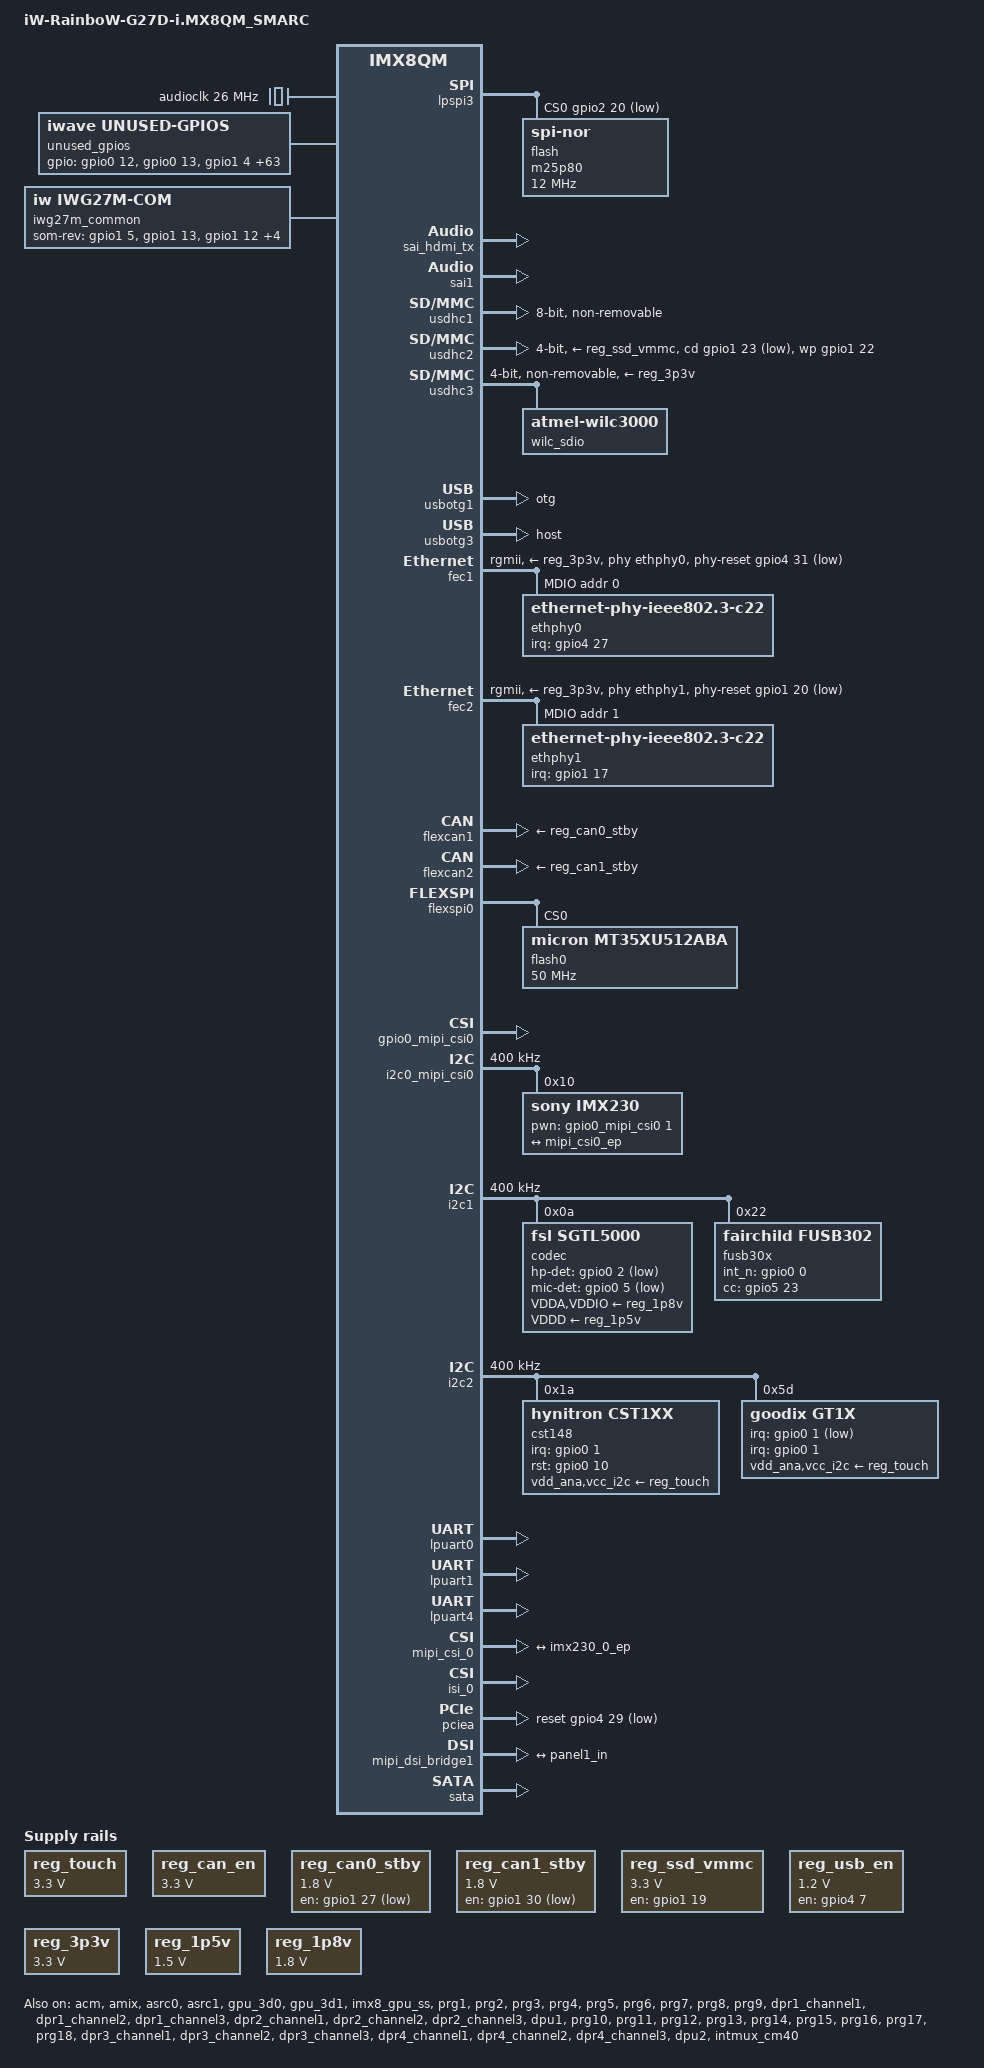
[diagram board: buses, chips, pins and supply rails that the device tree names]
/*
 * Copyright (c) 2018 iWave Systems Technologies Pvt. Ltd.
 *
 * This program is free software; you can redistribute it and/or
 * modify it under the terms of the GNU General Public License
 * as published by the Free Software Foundation; either version 2
 * of the License, or (at your option) any later version.
 *
 * This program is distributed in the hope that it will be useful,
 * but WITHOUT ANY WARRANTY; without even the implied warranty of
 * MERCHANTABILITY or FITNESS FOR A PARTICULAR PURPOSE.  See the
 * GNU General Public License for more details.
 */

#include "fsl-imx8qm.dtsi"

/ {
	model = "iW-RainboW-G27D-i.MX8QM_SMARC";
	compatible = "fsl,imx8qm-iwg27m", "fsl,imx8qm";

        clocks {
		#address-cells = <1>;
                #size-cells = <0>;
	audioclk: ext26Mz {
		compatible = "fixed-clock";
		clock-frequency = <26000000>;
		reg=<0>;
		#clock-cells = <0>;
		};
	};

	chosen {
		bootargs = "console=ttyLP4,115200 earlycon=lpuart32,0x5a0a0000,115200";
		stdout-path = &lpuart4;
	};

	unused_gpios: unused_gpios {
		compatible = "iwave,unused-gpios";
		pinctrl-names = "default";
                pinctrl-0 = <&pinctrl_unused_gpio>;
		status = "okay";              
	};

	regulators {
		compatible = "simple-bus";
		#address-cells = <1>;
		#size-cells = <0>;

		reg_touch: regulator@0 {
			compatible = "regulator-fixed";
			reg = <2>;
			regulator-name = "touch-en";
			regulator-min-microvolt = <3300000>;
			regulator-max-microvolt = <3300000>;
			regulator-always-on;
		};

		reg_can_en: regulator-can-en {
			compatible = "regulator-fixed";
			regulator-name = "can-en";
			regulator-min-microvolt = <3300000>;
			regulator-max-microvolt = <3300000>;
			enable-active-high;
		};

		reg_can0_stby: regulator-can-stby0 {
			compatible = "regulator-fixed";
			regulator-name = "can-stby0";
			regulator-min-microvolt = <1800000>;
			regulator-max-microvolt = <1800000>;
			gpio = <&gpio1 27 GPIO_ACTIVE_LOW>;
		};

		reg_can1_stby: regulator-can-stby1 {
                        compatible = "regulator-fixed";
                        regulator-name = "can-stby1";
                        regulator-min-microvolt = <1800000>;
                        regulator-max-microvolt = <1800000>;
			gpio = <&gpio1 30 GPIO_ACTIVE_LOW>;
                };

		reg_ssd_vmmc: regulator-ssd-vmmc {
			compatible = "regulator-fixed";
			regulator-name = "ssd_vmmc";
			regulator-min-microvolt = <3300000>;
			regulator-max-microvolt = <3300000>;
			gpio = <&gpio1 19 GPIO_ACTIVE_HIGH>;
			enable-active-high;
                };

		reg_usb_en: regulator-usb-en {
			compatible = "regulator-fixed";
			regulator-name = "usb_en";
			regulator-min-microvolt = <1200000>;
			regulator-max-microvolt = <1200000>;
			regulator-type = "voltage";
			gpio = <&gpio4 7 GPIO_ACTIVE_HIGH>;
			enable-active-high;
		};

		reg_3p3v: 3p3v {
			compatible = "regulator-fixed";
			regulator-name = "3P3V";
			regulator-min-microvolt = <3300000>;
			regulator-max-microvolt = <3300000>;
			regulator-always-on;
			regulator-boot-on;
		};

                reg_1p5v: 1p5v {
                        compatible = "regulator-fixed";
                        regulator-name = "1P5V";
                        regulator-min-microvolt = <1500000>;
                        regulator-max-microvolt = <1500000>;
                        regulator-always-on;
                };

                reg_1p8v: 1p8v {
                        compatible = "regulator-fixed";
                        regulator-name = "1P8V";
                        regulator-min-microvolt = <1800000>;
                        regulator-max-microvolt = <1800000>;
                        regulator-always-on;
                };
	};

/*
        sound: sound {
		compatible = "fsl,imx-audio-sgtl5000";
                model = "sgtl5000-audio";
                ssi-controller = <&sai1>;
                audio-codec = <&codec>;
                audio-routing = "MIC_IN", "Mic Jack",
				"Mic Jack", "Mic Bias",
				"Headphone Jack", "HP_OUT",
				"LINE_IN", "Line In Jack";
	};
*/
	sound-hdmi {
		compatible = "fsl,imx-audio-cdnhdmi";
                model = "imx-audio-hdmi";
                audio-cpu = <&sai_hdmi_tx>;
                constraint-rate = <48000>;
                protocol = <1>;
                status = "disabled";
        };

	/* IWG27M: DT node for SOM Revision */
	iwg27m_common {
		compatible = "iw,iwg27m-com";
		pinctrl-names = "default";
		pinctrl-0 = <&pinctrl_board_cfg>;
		som-rev-gpios = <&gpio1 5 0  &gpio1 13 0  &gpio1 12 0  &gpio1 11 0
				 &gpio0 6 0 &gpio0 7 0 &gpio0 11 0>;
		status = "okay";
	};

        lpspi2: lpspi@5a020000 {
		compatible = "fsl,imx7ulp-spi";
                reg = <0x0 0x5a020000 0x0 0x10000>;
                interrupts = <GIC_SPI 218 IRQ_TYPE_LEVEL_HIGH>;
                interrupt-parent = <&gic>;
                clocks = <&clk IMX8QM_SPI2_CLK>,
			 <&clk IMX8QM_SPI2_IPG_CLK>;
                clock-names = "per", "ipg";
                assigned-clocks = <&clk IMX8QM_SPI2_CLK>;
                assigned-clock-rates = <20000000>;
                power-domains = <&pd_dma_lpspi2>;
        };

        lpspi3: lpspi@5a030000 {
                compatible = "fsl,imx7ulp-spi";
                reg = <0x0 0x5a030000 0x0 0x10000>;
                interrupts = <GIC_SPI 219 IRQ_TYPE_LEVEL_HIGH>;
                interrupt-parent = <&gic>;
                clocks = <&clk IMX8QM_SPI3_CLK>,
                	 <&clk IMX8QM_SPI3_IPG_CLK>;
                clock-names = "per", "ipg";
                assigned-clocks = <&clk IMX8QM_SPI3_CLK>;
                assigned-clock-rates = <20000000>;
                power-domains = <&pd_dma_lpspi3>;
	};

};

&acm {
	status = "okay";
};

&amix {
	status = "okay";
};

&asrc0 {
	assigned-clocks = <&clk IMX8QM_AUD_PLL0_DIV>,
			  <&clk IMX8QM_AUD_ACM_AUD_PLL_CLK0_DIV>,
			  <&clk IMX8QM_AUD_ACM_AUD_REC_CLK0_DIV>;
	assigned-clock-rates = <786432000>, <49152000>, <24576000>;
	fsl,asrc-rate  = <48000>;
	status = "okay";
};

&asrc1 {
	fsl,asrc-rate = <48000>;
	assigned-clocks = <&clk IMX8QM_AUD_PLL0_DIV>,
			  <&clk IMX8QM_AUD_ACM_AUD_PLL_CLK0_DIV>,
			  <&clk IMX8QM_AUD_ACM_AUD_REC_CLK0_DIV>;
	assigned-clock-rates = <786432000>, <49152000>, <24576000>;
	status = "okay";
};

&sai_hdmi_tx {
	assigned-clocks = <&clk IMX8QM_ACM_HDMI_TX_SAI0_MCLK_SEL>,
			  <&clk IMX8QM_AUD_PLL1_DIV>,
			  <&clk IMX8QM_AUD_ACM_AUD_PLL_CLK1_DIV>,
			  <&clk IMX8QM_AUD_ACM_AUD_REC_CLK1_DIV>,
			  <&clk IMX8QM_AUD_SAI_HDMITX0_MCLK>;
	assigned-clock-parents = <&clk IMX8QM_AUD_ACM_AUD_PLL_CLK1_CLK>;
	assigned-clock-rates = <0>, <768000000>, <768000000>, <768000000>, <768000000>;
	fsl,sai-asynchronous;
	status = "okay";
};

&sai1 {
	pinctrl-names = "default";
	pinctrl-0 = <&pinctrl_sai1>;
	assigned-clocks = <&clk IMX8QM_ACM_ESAI0_MCLK_SEL>,
			  <&clk IMX8QM_AUD_PLL0_DIV>,
			  <&clk IMX8QM_AUD_ACM_AUD_PLL_CLK0_DIV>,
			  <&clk IMX8QM_AUD_ACM_AUD_REC_CLK0_DIV>,
			  <&clk IMX8QM_AUD_ESAI_0_EXTAL_IPG>;
	assigned-clock-parents = <&clk IMX8QM_AUD_ACM_AUD_PLL_CLK0_CLK>;
	assigned-clock-rates = <0>, <786432000>, <49152000>, <24576000>, <49152000>;
	status = "okay";
};

&iomuxc {
	imx8qm-iwg27m {

                pinctrl_sai1: sai1grp {
                        fsl,pins = <
                                SC_P_SAI1_RXD_AUD_SAI1_RXD             		0xc600004c
                                SC_P_SAI1_TXC_AUD_SAI1_TXC              	0xc600004c
                                SC_P_SAI1_TXD_AUD_SAI1_TXD              	0xc600004c
                                SC_P_SAI1_TXFS_AUD_SAI1_TXFS            	0xc600004c
				SC_P_MCLK_OUT0_AUD_ACM_MCLK_OUT0        	0xc600004c	
                        >;
                };

		pinctrl_hp_mic_detect: hp_mic_detect {
                        fsl,pins = <
                                SC_P_SIM0_IO_LSIO_GPIO0_IO02			0x00000021
                                SC_P_SIM0_GPIO0_00_LSIO_GPIO0_IO05		0x00000021
                        >;
                };

		pinctrl_fec1: fec1grp {
			fsl,pins = <
				SC_P_ENET0_MDC_CONN_ENET0_MDC			0x06000020
				SC_P_ENET0_MDIO_CONN_ENET0_MDIO			0x06000020
				SC_P_ENET0_RGMII_TX_CTL_CONN_ENET0_RGMII_TX_CTL	0x06000020
				SC_P_ENET0_RGMII_TXC_CONN_ENET0_RGMII_TXC	0x06000020
				SC_P_ENET0_RGMII_TXD0_CONN_ENET0_RGMII_TXD0	0x06000020
				SC_P_ENET0_RGMII_TXD1_CONN_ENET0_RGMII_TXD1	0x06000020
				SC_P_ENET0_RGMII_TXD2_CONN_ENET0_RGMII_TXD2	0x06000020
				SC_P_ENET0_RGMII_TXD3_CONN_ENET0_RGMII_TXD3	0x06000020
				SC_P_ENET0_RGMII_RXC_CONN_ENET0_RGMII_RXC	0x06000020
				SC_P_ENET0_RGMII_RX_CTL_CONN_ENET0_RGMII_RX_CTL	0x06000020
				SC_P_ENET0_RGMII_RXD0_CONN_ENET0_RGMII_RXD0	0x06000020
				SC_P_ENET0_RGMII_RXD1_CONN_ENET0_RGMII_RXD1	0x06000020
				SC_P_ENET0_RGMII_RXD2_CONN_ENET0_RGMII_RXD2	0x06000020
				SC_P_ENET0_RGMII_RXD3_CONN_ENET0_RGMII_RXD3	0x06000020
				SC_P_ENET0_REFCLK_125M_25M_CONN_ENET0_REFCLK_125M_25M	0x06000020
				SC_P_PCIE_CTRL0_CLKREQ_B_LSIO_GPIO4_IO27        0x06000021
				SC_P_PCIE_CTRL1_CLKREQ_B_LSIO_GPIO4_IO30        0x06000021
				SC_P_PCIE_CTRL1_WAKE_B_LSIO_GPIO4_IO31	        0x06000021
			>;
		};

		pinctrl_fec2: fec2grp {
			fsl,pins = <
				SC_P_ENET1_MDC_CONN_ENET1_MDC			0x06000020
				SC_P_ENET1_MDIO_CONN_ENET1_MDIO			0x06000020
				SC_P_ENET1_RGMII_TX_CTL_CONN_ENET1_RGMII_TX_CTL	0x06000020
				SC_P_ENET1_RGMII_TXC_CONN_ENET1_RGMII_TXC	0x06000020
				SC_P_ENET1_RGMII_TXD0_CONN_ENET1_RGMII_TXD0	0x06000020
				SC_P_ENET1_RGMII_TXD1_CONN_ENET1_RGMII_TXD1	0x06000020
				SC_P_ENET1_RGMII_TXD2_CONN_ENET1_RGMII_TXD2	0x06000020
				SC_P_ENET1_RGMII_TXD3_CONN_ENET1_RGMII_TXD3	0x06000020
				SC_P_ENET1_RGMII_RXC_CONN_ENET1_RGMII_RXC	0x06000020
				SC_P_ENET1_RGMII_RX_CTL_CONN_ENET1_RGMII_RX_CTL	0x06000020
				SC_P_ENET1_RGMII_RXD0_CONN_ENET1_RGMII_RXD0	0x06000020
				SC_P_ENET1_RGMII_RXD1_CONN_ENET1_RGMII_RXD1	0x06000020
				SC_P_ENET1_RGMII_RXD2_CONN_ENET1_RGMII_RXD2	0x06000020
				SC_P_ENET1_RGMII_RXD3_CONN_ENET1_RGMII_RXD3	0x06000020
				SC_P_ENET1_REFCLK_125M_25M_CONN_ENET1_REFCLK_125M_25M	0x06000020
				SC_P_MIPI_DSI1_I2C0_SCL_LSIO_GPIO1_IO20	        0x06000021
				SC_P_MIPI_DSI0_I2C0_SCL_LSIO_GPIO1_IO16         0x06000021
				SC_P_MIPI_DSI0_I2C0_SDA_LSIO_GPIO1_IO17		0x06000021	
			>;
		};

		pinctrl_lvds0_lpi2c1: lvds0lpi2c1grp {
			fsl,pins = <
				SC_P_LVDS0_I2C1_SDA_LVDS0_I2C1_SDA		0xc600004c
			>;
		};

		pinctrl_lpi2c1: lpi2c1grp {
			fsl,pins = <
				SC_P_GPT0_CLK_DMA_I2C1_SCL              	0xc600004c
				SC_P_GPT0_CAPTURE_DMA_I2C1_SDA          	0xc600004c
			>;
		};

		pinctrl_lpi2c2: lpi2c2grp {
                        fsl,pins = <
                                SC_P_GPT1_CLK_DMA_I2C2_SCL              	0xc600004c
                                SC_P_GPT1_CAPTURE_DMA_I2C2_SDA          	0xc600004c
                        >;
                };

		pinctrl_lpuart0: lpuart0grp {
			fsl,pins = <
				SC_P_UART0_RX_DMA_UART0_RX			0x06000020
				SC_P_UART0_TX_DMA_UART0_TX			0x06000020
				SC_P_UART0_RTS_B_DMA_UART0_RTS_B		0x06000020
				SC_P_UART0_CTS_B_DMA_UART0_CTS_B        	0x06000020
			>;
		};

		pinctrl_lpuart1: lpuart1grp {
			fsl,pins = <
				SC_P_UART1_RX_DMA_UART1_RX			0x06000020
				SC_P_UART1_TX_DMA_UART1_TX			0x06000020
				SC_P_UART1_CTS_B_DMA_UART1_CTS_B		0x06000020
				SC_P_UART1_RTS_B_DMA_UART1_RTS_B		0x06000020
			>;
		};

		pinctrl_lpuart4: lpuart4grp {
			fsl,pins = <
				SC_P_M40_GPIO0_00_DMA_UART4_RX			0x06000020
				SC_P_M40_GPIO0_01_DMA_UART4_TX			0x06000020
			>;
		};

                pinctrl_sata: sata {
                        fsl,pins = <
                                SC_P_MIPI_DSI0_GPIO0_00_LSIO_GPIO1_IO18		0x00000021
                        >;
                };

		pinctrl_usdhc1: usdhc1grp {
			fsl,pins = <
				SC_P_EMMC0_CLK_CONN_EMMC0_CLK			0x06000041
				SC_P_EMMC0_CMD_CONN_EMMC0_CMD			0x00000021
				SC_P_EMMC0_DATA0_CONN_EMMC0_DATA0		0x00000021
				SC_P_EMMC0_DATA1_CONN_EMMC0_DATA1		0x00000021
				SC_P_EMMC0_DATA2_CONN_EMMC0_DATA2		0x00000021
				SC_P_EMMC0_DATA3_CONN_EMMC0_DATA3		0x00000021
				SC_P_EMMC0_DATA4_CONN_EMMC0_DATA4		0x00000021
				SC_P_EMMC0_DATA5_CONN_EMMC0_DATA5		0x00000021
				SC_P_EMMC0_DATA6_CONN_EMMC0_DATA6		0x00000021
				SC_P_EMMC0_DATA7_CONN_EMMC0_DATA7		0x00000021
				SC_P_EMMC0_STROBE_CONN_EMMC0_STROBE		0x06000041
				SC_P_EMMC0_RESET_B_CONN_EMMC0_RESET_B		0x00000021
			>;
		};

		pinctrl_usdhc1_100mhz: usdhc1grp100mhz {
			fsl,pins = <
				SC_P_EMMC0_CLK_CONN_EMMC0_CLK			0x06000040
				SC_P_EMMC0_CMD_CONN_EMMC0_CMD			0x00000020
				SC_P_EMMC0_DATA0_CONN_EMMC0_DATA0		0x00000020
				SC_P_EMMC0_DATA1_CONN_EMMC0_DATA1		0x00000020
				SC_P_EMMC0_DATA2_CONN_EMMC0_DATA2		0x00000020
				SC_P_EMMC0_DATA3_CONN_EMMC0_DATA3		0x00000020
				SC_P_EMMC0_DATA4_CONN_EMMC0_DATA4		0x00000020
				SC_P_EMMC0_DATA5_CONN_EMMC0_DATA5		0x00000020
				SC_P_EMMC0_DATA6_CONN_EMMC0_DATA6		0x00000020
				SC_P_EMMC0_DATA7_CONN_EMMC0_DATA7		0x00000020
				SC_P_EMMC0_STROBE_CONN_EMMC0_STROBE		0x06000040
				SC_P_EMMC0_RESET_B_CONN_EMMC0_RESET_B		0x00000020
			>;
		};

		pinctrl_usdhc1_200mhz: usdhc1grp200mhz {
			fsl,pins = <
				SC_P_EMMC0_CLK_CONN_EMMC0_CLK			0x06000040
				SC_P_EMMC0_CMD_CONN_EMMC0_CMD			0x00000020
				SC_P_EMMC0_DATA0_CONN_EMMC0_DATA0		0x00000020
				SC_P_EMMC0_DATA1_CONN_EMMC0_DATA1		0x00000020
				SC_P_EMMC0_DATA2_CONN_EMMC0_DATA2		0x00000020
				SC_P_EMMC0_DATA3_CONN_EMMC0_DATA3		0x00000020
				SC_P_EMMC0_DATA4_CONN_EMMC0_DATA4		0x00000020
				SC_P_EMMC0_DATA5_CONN_EMMC0_DATA5		0x00000020
				SC_P_EMMC0_DATA6_CONN_EMMC0_DATA6		0x00000020
				SC_P_EMMC0_DATA7_CONN_EMMC0_DATA7		0x00000020
				SC_P_EMMC0_STROBE_CONN_EMMC0_STROBE		0x06000040
				SC_P_EMMC0_RESET_B_CONN_EMMC0_RESET_B		0x00000020
			>;
		};

		pinctrl_usdhc2_gpio: usdhc2grpgpio {
			fsl,pins = <
				SC_P_MIPI_DSI1_GPIO0_00_LSIO_GPIO1_IO22		0x00000021 /* WP */
				SC_P_MIPI_DSI1_GPIO0_01_LSIO_GPIO1_IO23		0x00000021 /* CD */
				SC_P_MIPI_DSI0_GPIO0_01_LSIO_GPIO1_IO19		0x00000021 /* PWR_EN */
			>;
		};

		pinctrl_usdhc2: usdhc2grp {
			fsl,pins = <
				SC_P_USDHC1_CLK_CONN_USDHC1_CLK			0x06000041
				SC_P_USDHC1_CMD_CONN_USDHC1_CMD			0x00000021
				SC_P_USDHC1_DATA0_CONN_USDHC1_DATA0		0x00000021
				SC_P_USDHC1_DATA1_CONN_USDHC1_DATA1		0x00000021
				SC_P_USDHC1_DATA2_CONN_USDHC1_DATA2		0x00000021
				SC_P_USDHC1_DATA3_CONN_USDHC1_DATA3		0x00000021
				SC_P_USDHC2_VSELECT_CONN_USDHC2_VSELECT		0x00000021
			>;
		};

		pinctrl_usdhc2_100mhz: usdhc2grp100mhz {
			fsl,pins = <
				SC_P_USDHC1_CLK_CONN_USDHC1_CLK			0x06000040
				SC_P_USDHC1_CMD_CONN_USDHC1_CMD			0x00000020
				SC_P_USDHC1_DATA0_CONN_USDHC1_DATA0		0x00000020
				SC_P_USDHC1_DATA1_CONN_USDHC1_DATA1		0x00000020
				SC_P_USDHC1_DATA2_CONN_USDHC1_DATA2		0x00000020
				SC_P_USDHC1_DATA3_CONN_USDHC1_DATA3		0x00000020
				SC_P_USDHC2_VSELECT_CONN_USDHC2_VSELECT		0x00000020
			>;
		};

		pinctrl_usdhc2_200mhz: usdhc2grp200mhz {
			fsl,pins = <
				SC_P_USDHC1_CLK_CONN_USDHC1_CLK			0x06000040
				SC_P_USDHC1_CMD_CONN_USDHC1_CMD			0x00000020
				SC_P_USDHC1_DATA0_CONN_USDHC1_DATA0		0x00000020
				SC_P_USDHC1_DATA1_CONN_USDHC1_DATA1		0x00000020
				SC_P_USDHC1_DATA2_CONN_USDHC1_DATA2		0x00000020
				SC_P_USDHC1_DATA3_CONN_USDHC1_DATA3		0x00000020
				SC_P_USDHC2_VSELECT_CONN_USDHC2_VSELECT		0x00000020
			>;
		};

                pinctrl_usdhc3: usdhc3grp {
			fsl,pins = <
				SC_P_USDHC2_CLK_CONN_USDHC2_CLK			0x06000041
				SC_P_USDHC2_CMD_CONN_USDHC2_CMD			0x00000021
				SC_P_USDHC2_DATA0_CONN_USDHC2_DATA0		0x00000021
				SC_P_USDHC2_DATA1_CONN_USDHC2_DATA1		0x00000021
				SC_P_USDHC2_DATA2_CONN_USDHC2_DATA2		0x00000021
				SC_P_USDHC2_DATA3_CONN_USDHC2_DATA3		0x00000021
				SC_P_USDHC1_VSELECT_CONN_USDHC1_VSELECT		0x00000021
			>;
		};

		pinctrl_usdhc3_100mhz: usdhc3grp100mhz {
			fsl,pins = <
				SC_P_USDHC2_CLK_CONN_USDHC2_CLK			0x06000040
				SC_P_USDHC2_CMD_CONN_USDHC2_CMD			0x00000020
				SC_P_USDHC2_DATA0_CONN_USDHC2_DATA0		0x00000020
				SC_P_USDHC2_DATA1_CONN_USDHC2_DATA1		0x00000020
				SC_P_USDHC2_DATA2_CONN_USDHC2_DATA2		0x00000020
				SC_P_USDHC2_DATA3_CONN_USDHC2_DATA3		0x00000020
				SC_P_USDHC1_VSELECT_CONN_USDHC1_VSELECT		0x00000020
			>;
		};

		pinctrl_usdhc3_200mhz: usdhc3grp200mhz {
			fsl,pins = <
				SC_P_USDHC2_CLK_CONN_USDHC2_CLK			0x06000040
				SC_P_USDHC2_CMD_CONN_USDHC2_CMD			0x00000020
				SC_P_USDHC2_DATA0_CONN_USDHC2_DATA0		0x00000020
				SC_P_USDHC2_DATA1_CONN_USDHC2_DATA1		0x00000020
				SC_P_USDHC2_DATA2_CONN_USDHC2_DATA2		0x00000020
				SC_P_USDHC2_DATA3_CONN_USDHC2_DATA3		0x00000020
				SC_P_USDHC1_VSELECT_CONN_USDHC1_VSELECT		0x00000020
			>;
		};

		pinctrl_usdhc3_gpio: usdhc3grpgpio {
			fsl,pins = <
				SC_P_ESAI0_TX2_RX3_LSIO_GPIO2_IO28              0x00000021 /* WIFI IRQ */
				SC_P_ESAI0_TX3_RX2_LSIO_GPIO2_IO29              0x00000021 /* WIFI RST */
				SC_P_ESAI0_TX4_RX1_LSIO_GPIO2_IO30              0x00000021 /* WIFI CHIP_EN */
			>;
		};

		pinctrl_board_cfg: brd_cfg {
			fsl,pins = <
				SC_P_LVDS0_GPIO01_LSIO_GPIO1_IO05       	0x00000021
				SC_P_LVDS1_I2C0_SDA_LSIO_GPIO1_IO13     	0x00000021
				SC_P_LVDS1_I2C0_SCL_LSIO_GPIO1_IO12     	0x00000021
				SC_P_LVDS1_GPIO01_LSIO_GPIO1_IO11       	0x00000021
				SC_P_M40_I2C0_SCL_LSIO_GPIO0_IO06       	0x00000021
				SC_P_M40_I2C0_SDA_LSIO_GPIO0_IO07       	0x00000021
				SC_P_M41_I2C0_SDA_LSIO_GPIO0_IO11       	0x00000021
			>;
		};
		
		pinctrl_flexcan1: flexcan0grp {
			fsl,pins = <
				SC_P_FLEXCAN0_TX_DMA_FLEXCAN0_TX		0x00000021
				SC_P_FLEXCAN0_RX_DMA_FLEXCAN0_RX		0x00000021
				SC_P_MIPI_CSI0_GPIO0_00_LSIO_GPIO1_IO27		0x00000021
			>;
		};

		pinctrl_flexcan2: flexcan1grp {
			fsl,pins = <
				SC_P_FLEXCAN1_TX_DMA_FLEXCAN1_TX		0x00000021
				SC_P_FLEXCAN1_RX_DMA_FLEXCAN1_RX		0x00000021
				SC_P_MIPI_CSI1_GPIO0_00_LSIO_GPIO1_IO30 	0x00000021
			>;
		};

		pinctrl_flexspi0: flexspi0grp {
                        fsl,pins = <
                                SC_P_QSPI0A_DATA0_LSIO_QSPI0A_DATA0     	0x0600004c
                                SC_P_QSPI0A_DATA1_LSIO_QSPI0A_DATA1     	0x0600004c
                                SC_P_QSPI0A_DATA2_LSIO_QSPI0A_DATA2     	0x0600004c
                                SC_P_QSPI0A_DATA3_LSIO_QSPI0A_DATA3     	0x0600004c
                                SC_P_QSPI0A_DQS_LSIO_QSPI0A_DQS         	0x0600004c
                                SC_P_QSPI0A_SS0_B_LSIO_QSPI0A_SS0_B     	0x0600004c
                                SC_P_QSPI0A_SCLK_LSIO_QSPI0A_SCLK       	0x0600004c
                                SC_P_QSPI0B_SCLK_LSIO_QSPI0B_SCLK       	0x0600004c
                                SC_P_QSPI0B_DATA0_LSIO_QSPI0B_DATA0     	0x0600004c
                                SC_P_QSPI0B_DATA1_LSIO_QSPI0B_DATA1     	0x0600004c
                                SC_P_QSPI0B_DATA2_LSIO_QSPI0B_DATA2     	0x0600004c
                                SC_P_QSPI0B_DATA3_LSIO_QSPI0B_DATA3     	0x0600004c
                                SC_P_QSPI0B_SS0_B_LSIO_QSPI0B_SS0_B     	0x0600004c
                        >;
                };

		pinctrl_lpspi2: lpspi2grp {
			fsl,pins = <
				SC_P_SPI2_SCK_DMA_SPI2_SCK			0x0600004c
				SC_P_SPI2_SDI_DMA_SPI2_SDI			0x0600004c
				SC_P_SPI2_SDO_DMA_SPI2_SDO			0x0600004c
				SC_P_SPI2_CS0_LSIO_GPIO3_IO10   		0x00000021 
				SC_P_ESAI0_TX2_RX3_LSIO_GPIO2_IO28    		0x00000021 
				SC_P_ESAI0_TX3_RX2_LSIO_GPIO2_IO29		0x00000021
			>;
		};

		pinctrl_lpspi3: lpspi3grp {
			fsl,pins = <
				SC_P_SPI3_SCK_DMA_SPI3_SCK			0x0600004c
				SC_P_SPI3_SDO_DMA_SPI3_SDO			0x0600004c
				SC_P_SPI3_SDI_DMA_SPI3_SDI			0x0600004c
				SC_P_SPI3_CS0_LSIO_GPIO2_IO20			0x00000021
				SC_P_SPI3_CS1_DMA_SPI3_CS1			0x0600004c
			>;
		};

		pinctrl_pciea: pcieagrp{
			fsl,pins = <
				SC_P_SIM0_POWER_EN_LSIO_GPIO0_IO04      	0x00000021
				SC_P_PCIE_CTRL0_WAKE_B_LSIO_GPIO4_IO28		0x00000021
				SC_P_PCIE_CTRL0_PERST_B_LSIO_GPIO4_IO29		0x00000021
			>;
		};

                pinctrl_pcieb: pciebgrp{
                        fsl,pins = <
				SC_P_PCIE_CTRL0_WAKE_B_LSIO_GPIO4_IO28		0x00000021
				SC_P_PCIE_CTRL0_PERST_B_LSIO_GPIO4_IO29		0x00000021
                        >;
                };

		pinctrl_usbotg1: usbotg1 {
			fsl,pins = <
				SC_P_USB_SS3_TC0_LSIO_GPIO4_IO03		0x00000021
			>;
		};

                pinctrl_usbotg3: usbotg3 {
                        fsl,pins = <
                                SC_P_USDHC1_RESET_B_LSIO_GPIO4_IO07     	0x00000021
                                SC_P_MIPI_DSI1_I2C0_SDA_LSIO_GPIO1_IO21 	0x00000021
        
                        >;
                };

		pinctrl_type_c: usbtypec {
			fsl,pins = <
				SC_P_SIM0_CLK_LSIO_GPIO0_IO00			0x00000021
				SC_P_USDHC1_STROBE_LSIO_GPIO5_IO23		0x00000021		
			>;
		};

		pinctrl_mipi_csi0_gpio: mipicsi0gpiogrp{
			fsl,pins = <
				SC_P_MIPI_CSI0_GPIO0_01_MIPI_CSI0_GPIO0_IO01	0x00000021
			>;
		};

		pinctrl_mipi_csi1_gpio: mipicsi1gpiogrp{
			fsl,pins = <
				SC_P_MIPI_CSI1_GPIO0_01_MIPI_CSI1_GPIO0_IO01	0x00000021
			>;
		};

		pinctrl_mipi_dsi: mipidsi {
			fsl,pins = <
				SC_P_SIM0_PD_LSIO_GPIO0_IO03            	0x00000021
			>;
		};
                pinctrl_ts_active_iwg27m: touch {
                        fsl,pins = <
                                SC_P_SIM0_RST_LSIO_GPIO0_IO01           	0x00000021
				SC_P_M41_I2C0_SCL_LSIO_GPIO0_IO10               0x18300021
                        >;
                };
		
		pinctrl_unused_gpio: unused_gpiogrp{
                        fsl,pins = <
                                SC_P_M41_GPIO0_00_LSIO_GPIO0_IO12               0x00000021
                                SC_P_M41_GPIO0_01_LSIO_GPIO0_IO13               0x00000021
                                SC_P_LVDS0_GPIO00_LSIO_GPIO1_IO04               0x00000021
                                SC_P_LVDS0_I2C0_SCL_LSIO_GPIO1_IO06             0x00000021
                                SC_P_LVDS0_I2C0_SDA_LSIO_GPIO1_IO07             0x00000021
                                SC_P_LVDS0_I2C1_SCL_LSIO_GPIO1_IO08             0x00000021
                                SC_P_LVDS1_GPIO00_LSIO_GPIO1_IO10               0x00000021
                                SC_P_LVDS1_I2C1_SCL_LSIO_GPIO1_IO14             0x00000021
                                SC_P_LVDS1_I2C1_SDA_LSIO_GPIO1_IO15             0x00000021
                                SC_P_MIPI_CSI1_MCLK_OUT_LSIO_GPIO1_IO29         0x00000021
                                SC_P_MIPI_CSI1_I2C0_SCL_LSIO_GPIO2_IO00         0x00000021
                                SC_P_MIPI_CSI1_I2C0_SDA_LSIO_GPIO2_IO01         0x00000021
                                SC_P_HDMI_TX0_TS_SCL_LSIO_GPIO2_IO02            0x00000021
                                SC_P_HDMI_TX0_TS_SDA_LSIO_GPIO2_IO03            0x00000021
                                SC_P_ESAI1_FSR_LSIO_GPIO2_IO04                  0x00000021
                                SC_P_ESAI1_FST_LSIO_GPIO2_IO05                  0x00000021
                                SC_P_ESAI1_SCKR_LSIO_GPIO2_IO06                 0x00000021
                                SC_P_ESAI1_SCKT_LSIO_GPIO2_IO07                 0x00000021
                                SC_P_ESAI1_TX0_LSIO_GPIO2_IO08                  0x00000021
                                SC_P_ESAI1_TX1_LSIO_GPIO2_IO09                  0x00000021
                                SC_P_ESAI1_TX2_RX3_LSIO_GPIO2_IO10              0x00000021
                                SC_P_ESAI1_TX3_RX2_LSIO_GPIO2_IO11              0x00000021
                                SC_P_ESAI1_TX4_RX1_LSIO_GPIO2_IO12              0x00000021
                                SC_P_ESAI1_TX5_RX0_LSIO_GPIO2_IO13              0x00000021
                                SC_P_SPDIF0_RX_LSIO_GPIO2_IO14                  0x00000021
                                SC_P_SPDIF0_TX_LSIO_GPIO2_IO15                  0x00000021
                                SC_P_SPDIF0_EXT_CLK_LSIO_GPIO2_IO16             0x00000021
                                SC_P_ESAI0_FSR_LSIO_GPIO2_IO22                  0x00000021
                                SC_P_ESAI0_SCKR_LSIO_GPIO2_IO24                 0x00000021
                                SC_P_ESAI0_TX1_LSIO_GPIO2_IO27                  0x00000021
				SC_P_MCLK_IN0_LSIO_GPIO3_IO00                   0x00000021
                                SC_P_SPI0_SCK_LSIO_GPIO3_IO02                   0x00000021
                                SC_P_SPI0_SDO_LSIO_GPIO3_IO03                   0x00000021
                                SC_P_SPI0_SDI_LSIO_GPIO3_IO04                   0x00000021
                                SC_P_SPI0_CS0_LSIO_GPIO3_IO05                   0x00000021
                                SC_P_SPI0_CS1_LSIO_GPIO3_IO06                   0x00000021
                                SC_P_SPI2_CS1_LSIO_GPIO3_IO11                   0x00000021
                                SC_P_SAI1_RXC_LSIO_GPIO3_IO12                   0x00000021
                                SC_P_SAI1_RXFS_LSIO_GPIO3_IO14                  0x00000021
                                SC_P_ADC_IN4_LSIO_GPIO3_IO22                    0x00000021
                                SC_P_ADC_IN5_LSIO_GPIO3_IO23                    0x00000021
                                SC_P_ADC_IN6_LSIO_GPIO3_IO24                    0x00000021
                                SC_P_ADC_IN7_LSIO_GPIO3_IO25                    0x00000021
                                SC_P_MLB_SIG_LSIO_GPIO3_IO26                    0x00000021
                                SC_P_MLB_CLK_LSIO_GPIO3_IO27                    0x00000021
                                SC_P_MLB_DATA_LSIO_GPIO3_IO28                   0x00000021
                                SC_P_FLEXCAN2_RX_LSIO_GPIO4_IO01                0x00000021
                                SC_P_FLEXCAN2_TX_LSIO_GPIO4_IO02                0x00000021
                                SC_P_USB_SS3_TC2_LSIO_GPIO4_IO05                0x00000021
                                SC_P_USDHC2_RESET_B_LSIO_GPIO4_IO09             0x00000021
                                SC_P_USDHC2_WP_LSIO_GPIO4_IO11                  0x00000021
                                SC_P_QSPI1A_SS0_B_LSIO_GPIO4_IO19               0x00000021
                                SC_P_QSPI1A_SS1_B_LSIO_GPIO4_IO20               0x00000021
                                SC_P_QSPI1A_SCLK_LSIO_GPIO4_IO21                0x00000021
                                SC_P_QSPI1A_DQS_LSIO_GPIO4_IO22                 0x00000021
                                SC_P_QSPI1A_DATA3_LSIO_GPIO4_IO23               0x00000021
                                SC_P_QSPI1A_DATA2_LSIO_GPIO4_IO24               0x00000021
                                SC_P_QSPI1A_DATA1_LSIO_GPIO4_IO25               0x00000021
                                SC_P_QSPI1A_DATA0_LSIO_GPIO4_IO26               0x00000021
                                SC_P_PCIE_CTRL1_PERST_B_LSIO_GPIO5_IO00         0x00000021
                                SC_P_USB_HSIC0_DATA_LSIO_GPIO5_IO01             0x00000021
                                SC_P_USB_HSIC0_STROBE_LSIO_GPIO5_IO02           0x00000021
                                SC_P_USDHC1_DATA4_LSIO_GPIO5_IO19               0x00000021
                                SC_P_USDHC1_DATA5_LSIO_GPIO5_IO20               0x00000021
                                SC_P_USDHC1_DATA6_LSIO_GPIO5_IO21               0x00000021
                                SC_P_USDHC1_DATA7_LSIO_GPIO5_IO22               0x00000021
                        >;
                };
	};
};

&gpio0 {

	status = "okay";
};

&gpio1 {
	status = "okay";
};

&gpio2 {
	status = "okay";
};

&gpio3 {
	status = "okay";
};

&gpio4 {
	status = "okay";
};

&gpio5 {
	status = "okay";
};

&gpio6 {
	status = "okay";
};

&usdhc1 {
	pinctrl-names = "default", "state_100mhz", "state_200mhz";
	pinctrl-0 = <&pinctrl_usdhc1>;
	pinctrl-1 = <&pinctrl_usdhc1_100mhz>;
	pinctrl-2 = <&pinctrl_usdhc1_200mhz>;
	bus-width = <8>;
	non-removable;
	status = "okay";
};

&usdhc2 {
	pinctrl-names = "default", "state_100mhz", "state_200mhz";
	pinctrl-0 = <&pinctrl_usdhc2>, <&pinctrl_usdhc2_gpio>;
	pinctrl-1 = <&pinctrl_usdhc2_100mhz>, <&pinctrl_usdhc2_gpio>;
	pinctrl-2 = <&pinctrl_usdhc2_200mhz>, <&pinctrl_usdhc2_gpio>;
	bus-width = <4>;
	cd-gpios = <&gpio1 23 GPIO_ACTIVE_LOW>;
	wp-gpios = <&gpio1 22 GPIO_ACTIVE_HIGH>;
	cap-sd-highspeed;
	/* IWG27M: Fixed 3.3v for standard SD due to
         * PMIC ERRATA ER021:VSELECT Incorrect Setpoint */
	no-1-8-v;
	vmmc-supply = <&reg_ssd_vmmc>;
	status = "okay";
};

&usdhc3 {
	pinctrl-names = "default","state_100mhz", "state_200mhz";
        pinctrl-0 = <&pinctrl_usdhc3>, <&pinctrl_usdhc3_gpio>;
	pinctrl-1 = <&pinctrl_usdhc3_100mhz>, <&pinctrl_usdhc3_gpio>;
	pinctrl-2 = <&pinctrl_usdhc3_200mhz>, <&pinctrl_usdhc3_gpio>;
	bus-width = <4>;
	non-removable;
	/* IWG27M: Fixed 1.8v for WIFI due to
         * PMIC ERRATA ER021:VSELECT Incorrect Setpoint */
	vmmc-supply = <&reg_3p3v>;
        wifi-host;
	status = "okay";
	wilc_sdio {
                compatible = "atmel-wilc3000";
                status ="okay";
        };
};

&usbotg1 {
	pinctrl-names = "default";
	pinctrl-0 = <&pinctrl_usbotg1>;
	srp-disable;
	hnp-disable;
	adp-disable;
	otg-pwr-gpio = <&gpio4 3 GPIO_ACTIVE_LOW>;
	dr_mode = "otg";
	power-polarity-active-high;
	disable-over-current;
	status = "okay";
};

&usbotg3 {
	pinctrl-names = "default";
	pinctrl-0 = <&pinctrl_usbotg3>;
	vusb-supply = <&reg_usb_en>;
	hub-reset-gpio = <&gpio1 21 GPIO_ACTIVE_HIGH>;
	dr_mode = "host";
	status = "okay";
};

&fec1 {
	pinctrl-names = "default";
	pinctrl-0 = <&pinctrl_fec1>;
	phy-mode = "rgmii";
	phy-supply = <&reg_3p3v>;
	phy-handle = <&ethphy0>;
	phy-reset-gpios = <&gpio4 31 GPIO_ACTIVE_LOW>;
	fsl,magic-packet;
	fsl,rgmii_txc_dly;
	fsl,rgmii_rxc_dly;
	fsl,ar8031-phy-fixup;
	fsl,mii-exclusive;
	status = "okay";

	mdio {
		#address-cells = <1>;
		#size-cells = <0>;
		ethphy0: ethernet-phy@0 {
			reg = <0x0>;
			compatible = "ethernet-phy-ieee802.3-c22";
			interrupts-extended = <&gpio4 27 IRQ_TYPE_LEVEL_LOW>;
			at803x,led-act-blind-workaround;
			at803x,eee-disabled;
			at803x,vddio-1p8v;
		};
	};
};

&fec2 {
	pinctrl-names = "default";
	pinctrl-0 = <&pinctrl_fec2>;
	phy-mode = "rgmii";
	phy-supply = <&reg_3p3v>;
	phy-handle = <&ethphy1>;
	phy-reset-gpios = <&gpio1 20 GPIO_ACTIVE_LOW>;
	fsl,magic-packet;
	fsl,rgmii_txc_dly;
	fsl,rgmii_rxc_dly;
	fsl,ar8031-phy-fixup;
	fsl,mii-exclusive;
	status = "okay";

	mdio {
		#address-cells = <1>;
                #size-cells = <0>;
                ethphy1: ethernet-phy@1 {
                        reg = <0x1>;
                        compatible = "ethernet-phy-ieee802.3-c22";
			interrupts-extended = <&gpio1 17 IRQ_TYPE_LEVEL_LOW>;
                        at803x,led-act-blind-workaround;
                        at803x,eee-disabled;
                        at803x,vddio-1p8v;
                };
        };
};

&flexcan1 {
	pinctrl-names = "default";
	compatible = "fsl,iwg27m-flexcan"; 
	pinctrl-0 = <&pinctrl_flexcan1>;
	xceiver-supply = <&reg_can0_stby>;
	status = "okay";
};

&flexcan2 {
	pinctrl-names = "default";
	pinctrl-0 = <&pinctrl_flexcan2>;
	compatible = "fsl,iwg27m-flexcan";
	xceiver-supply = <&reg_can1_stby>;
	status = "okay";
};

&flexspi0 {
        pinctrl-names = "default";
        pinctrl-0 = <&pinctrl_flexspi0>;
        status = "okay";
	#address-cells = <1>;
        #size-cells = <0>;
        fsl,spi-num-chipselects = <1>;

        flash0: mt35xu512aba@0 {
                reg = <0>;
                #address-cells = <1>;
                #size-cells = <1>;
                compatible = "micron,mt35xu512aba";
                spi-max-frequency = <50000000>;
                spi-nor,ddr-quad-read-dummy = <8>;
		spi-tx-bus-width = <1>;
	        spi-rx-bus-width = <1>;
        };
};

&lpspi2 {
        pinctrl-names = "default";
        pinctrl-0 = <&pinctrl_lpspi2>;
	cs-gpios = <&gpio3 10 GPIO_ACTIVE_LOW>;
	#address-cells = <1>;
        #size-cells = <0>;
        fsl,spi-num-chipselects = <1>;
	spi-max-frequency = <20000000>;
        status = "disabled";
};

&lpspi3 {
        pinctrl-names = "default";
        pinctrl-0 = <&pinctrl_lpspi3>;
        status = "okay";
	cs-gpios = <&gpio2 20 GPIO_ACTIVE_LOW>;
        #address-cells = <1>;
        #size-cells = <0>;

        flash: m25p80@0 {
                #address-cells = <1>;
                #size-cells = <1>;
                compatible = "jedec,spi-nor", "sst25wf020a";
                spi-max-frequency = <12000000>;
                reg = <0>;
		spi-tx-bus-width = <1>;
	        spi-rx-bus-width = <1>;
		m25p,fast-read;
        	status = "okay";
        };
};

&gpio0_mipi_csi0 {
	pinctrl-names = "default";
	pinctrl-0 = <&pinctrl_mipi_csi0_gpio>;
	status = "okay";
};

&gpio0_mipi_csi1 {
	pinctrl-names = "default";
	pinctrl-0 = <&pinctrl_mipi_csi1_gpio>;
	status = "disabled";
};

&hdmi {
	pinctrl-names = "default";
	compatible = "fsl,imx8qm-hdmi";
	status = "disabled";
};

&i2c0_mipi_csi0 {
        #address-cells = <1>;
        #size-cells = <0>;
        pinctrl-names = "default";
        clock-frequency = <400000>;
        status = "okay";

        imx230@10  {
        	compatible = "sony,imx230";
                reg = <0x10>;
                clocks = <&clk IMX8QM_CLK_DUMMY>;
                clock-names = "capture_mclk";
                mclk = <24000000>;
                mclk_source = <0>;
                pwn-gpios = <&gpio0_mipi_csi0 1 GPIO_ACTIVE_HIGH>;
                virtual-channel;
                port {
                	imx230_0_ep: endpoint {
                        remote-endpoint = <&mipi_csi0_ep>;
                        data-lanes = <1 2 3 4>;
			};
		};
	};
};

&i2c1 {
	#address-cells = <1>;
	#size-cells = <0>;
	pinctrl-names = "default";
	pinctrl-0 = <&pinctrl_lpi2c1>;
	clock-frequency = <400000>;
	status = "okay";

	codec: sgtl5000@0a {
		compatible = "fsl,sgtl5000";
	       	reg = <0x0a>;
		pinctrl-names = "default";
                pinctrl-0 = <&pinctrl_hp_mic_detect>;
	       	clocks = <&audioclk 0>;
	       	VDDA-supply = <&reg_1p8v>;
	       	VDDIO-supply = <&reg_1p8v>;
	       	VDDD-supply = <&reg_1p5v>;
	       	power-domains = <&pd_mclk_out0>;
		hp-det-gpios = <&gpio0 2 GPIO_ACTIVE_LOW>;
                mic-det-gpios = <&gpio0 5 GPIO_ACTIVE_LOW>;
	       	status = "okay";
	};

	fusb30x@22 {
		compatible = "fairchild,fusb302";
		reg = <0x22>;
		fairchild,int_n = <&gpio0 0 0>;
		pinctrl-names = "default";
		pinctrl-0 = <&pinctrl_type_c>;
		fairchild,cc = <&gpio5 23 0>;
		status = "okay";
       	};
};

&i2c2 {
	#address-cells = <1>;
	#size-cells = <0>;
	pinctrl-names = "default";
	pinctrl-0 = <&pinctrl_lpi2c2>;
	clock-frequency = <400000>;
	status = "okay";

	cst148@1a {
                compatible = "hynitron,cst1xx";
                reg = <0x1a>;
                interrupt-parent = <&gpio0>;
                interrupts = <1 2>;
                vdd_ana-supply = <&reg_touch>;
                vcc_i2c-supply = <&reg_touch>;
                hynitron,panel-coords = <0 1080 0 1920>;
                hynitron,display-coords = <0 1080 0 1920>;
                pinctrl-names = "default";
                pinctrl-0 = <&pinctrl_ts_active_iwg27m>;
                hynitron,irq-gpio = <&gpio0 1 0>;
                hynitron,rst-gpio = <&gpio0 10 0>;
                report_type = <1>;
        };

	goodix@5d {
		compatible = "goodix,gt1x";
		reg = <0x5d>;
		interrupt-parent = <&gpio0>;
		interrupts = <1 2>;
		vdd_ana-supply = <&reg_touch>;
		vcc_i2c-supply = <&reg_touch>;
		pinctrl-names = "ts_active";
		pinctrl-0 = <&pinctrl_ts_active_iwg27m>;
		goodix,irq-gpio = <&gpio0 1 GPIO_ACTIVE_LOW>;
	};
};

&pd_dma_lpuart4 {
	debug_console;
};

&lpuart0 { /* DATA UART */
	pinctrl-names = "default";
	pinctrl-0 = <&pinctrl_lpuart0>;
	status = "okay";
};

&lpuart1 { /* BT */
	pinctrl-names = "default";
	pinctrl-0 = <&pinctrl_lpuart1>;
	device_type = "serial";
	port-number = <1>;
	status = "okay";
};

&lpuart4 { /* console */
	pinctrl-names = "default";
	pinctrl-0 = <&pinctrl_lpuart4>;
	status = "okay";
};

&mipi_csi_0 {
	#address-cells = <1>;
	#size-cells = <0>;
	virtual-channel;
	status = "okay";

	/* Camera 0  MIPI CSI-2 (CSIS0) */
        port@0 {
		reg = <0>;
                mipi_csi0_ep: endpoint {
                	remote-endpoint = <&imx230_0_ep>;
                        data-lanes = <1 2 3 4>;
                };
        };
};

&mipi_csi_1 {
	#address-cells = <1>;
	#size-cells = <0>;
	virtual-channel;
	status = "disabled";
};

&isi_0 {
        status = "okay";
};

&gpu_3d0 {
	status = "okay";
};

&gpu_3d1 {
	status = "okay";
};

&imx8_gpu_ss {
	status = "okay";
};

&prg1 {
	status = "okay";
};

&prg2 {
	status = "okay";
};

&prg3 {
	status = "okay";
};

&prg4 {
	status = "okay";
};

&prg5 {
	status = "okay";
};

&prg6 {
	status = "okay";
};

&prg7 {
	status = "okay";
};

&prg8 {
	status = "okay";
};

&prg9 {
	status = "okay";
};

&dpr1_channel1 {
	status = "okay";
};

&dpr1_channel2 {
	status = "okay";
};

&dpr1_channel3 {
	status = "okay";
};

&dpr2_channel1 {
	status = "okay";
};

&dpr2_channel2 {
	status = "okay";
};

&dpr2_channel3 {
	status = "okay";
};

&dpu1 {
	status = "okay";
};

&prg10 {
	status = "okay";
};

&prg11 {
	status = "okay";
};

&prg12 {
	status = "okay";
};

&prg13 {
	status = "okay";
};

&prg14 {
	status = "okay";
};

&prg15 {
	status = "okay";
};

&prg16 {
	status = "okay";
};

&prg17 {
	status = "okay";
};

&prg18 {
	status = "okay";
};

&dpr3_channel1 {
	status = "okay";
};

&dpr3_channel2 {
	status = "okay";
};

&dpr3_channel3 {
	status = "okay";
};

&dpr4_channel1 {
	status = "okay";
};

&dpr4_channel2 {
	status = "okay";
};

&dpr4_channel3 {
	status = "okay";
};

&dpu2 {
	status = "okay";
};

&pciea{
	ext_osc = <1>;
	pinctrl-names = "default";
	pinctrl-0 = <&pinctrl_pciea>;
	reset-gpio = <&gpio4 29 GPIO_ACTIVE_LOW>;
	status = "okay";
};

&pcieb{
        ext_osc = <1>;
        pinctrl-names = "default";
        pinctrl-0 = <&pinctrl_pcieb>;
        reset-gpio = <&gpio4 29 GPIO_ACTIVE_LOW>;
        status = "disabled";
};

&intmux_cm40 {
	status = "okay";
};

&rpmsg{
	/*
	 * 64K for one rpmsg instance:
	 * --0xb8000000~0xb800ffff: pingpong
	 */
	vdev-nums = <1>;
	reg = <0x0 0xb8000000 0x0 0x10000>;
	status = "okay";
};

&intmux_cm41 {
	status = "okay";
};

&rpmsg1{
	/*
	 * 64K for one rpmsg instance:
	 * --0xb8100000~0xb810ffff: pingpong
	 */
	vdev-nums = <1>;
	reg = <0x0 0xb8100000 0x0 0x10000>;
	status = "okay";
};

&ldb1_phy {
	status = "disabled";
};

&ldb1 {
	status = "disabled";

	lvds-channel@0 {
		fsl,data-mapping = "spwg";
		fsl,data-width = <18>;
		status = "disabled";
		display-timings {
			native-mode = <&timing1>;
			timing1: ldb-svga {
				clock-frequency = <40000000>;
		 		hactive = <800>;
		 		vactive = <600>;
		 		hback-porch = <8>;
		 		hfront-porch = <8>;
		 		vback-porch = <6>;
		 		vfront-porch = <6>;
		 		hsync-len = <8>;
		 		vsync-len = <6>;
	 		};
		};
	};
};

&mipi_dsi_phy1 {
	status = "okay"; 
};

&mipi_dsi1 {
};

&mipi_dsi_bridge1 {
	status = "okay"; 

        panel@0 {
                reg = <0>;
		pinctrl-0 = <&pinctrl_mipi_dsi>;
		reset-gpio = <&gpio0 3 GPIO_ACTIVE_LOW>;
                dsi-lanes = <4>;
                panel-width-mm = <68>;
                panel-height-mm = <121>;
                port {
			panel1_in: endpoint {
				remote-endpoint = <&mipi_bridge1_out>;
			};
                };
        };

        port@1 {
		mipi_bridge1_out: endpoint {
			remote-endpoint = <&panel1_in>;
                };
        };
};

&wdog {
	pinctrl-names = "default";
        status = "okay";
};

&sata {
        pinctrl-names = "default";
        pinctrl-0 = <&pinctrl_sata>;
        sata-act-gpios = <&gpio1 18 1>;
        clocks = <&clk IMX8QM_HSIO_SATA_CLK>,
		 <&clk IMX8QM_HSIO_PHY_X1_PCLK>,
		 <&clk IMX8QM_HSIO_SATA_EPCS_TX_CLK>,
		 <&clk IMX8QM_HSIO_SATA_EPCS_RX_CLK>,
		 <&clk IMX8QM_HSIO_PHY_X2_PCLK_0>,
		 <&clk IMX8QM_HSIO_PHY_X2_PCLK_1>,
		 <&clk IMX8QM_CLK_DUMMY>;
	clock-names = "sata", "sata_ref", "epcs_tx", "epcs_rx",
		      "phy_pclk0", "phy_pclk1", "ahb";
	status = "okay";
};

&unused_gpios { 
	gpios = <&gpio0 12 0>,
		<&gpio0 13 0>,
		<&gpio1 4 0>,
		<&gpio1 6 0>,
		<&gpio1 7 0>,
		<&gpio1 8 0>,
		<&gpio1 10 0>,
		<&gpio1 14 0>,
		<&gpio1 15 0>,
		<&gpio1 29 0>,
		<&gpio2 0 0>,
		<&gpio2 1 0>,
		<&gpio2 2 0>,
		<&gpio2 3 0>,
		<&gpio2 4 0>,
		<&gpio2 5 0>,
		<&gpio2 6 0>,
		<&gpio2 7 0>,
		<&gpio2 8 0>,
		<&gpio2 9 0>,
		<&gpio2 10 0>,
		<&gpio2 11 0>,
		<&gpio2 12 0>,
		<&gpio2 13 0>,
		<&gpio2 14 0>,
		<&gpio2 15 0>,
		<&gpio2 16 0>,
		<&gpio2 22 0>,
		<&gpio2 24 0>,
		<&gpio2 27 0>,
		<&gpio3 0 0>,
		<&gpio3 2 0>,
		<&gpio3 3 0>,
		<&gpio3 4 0>,
		<&gpio3 5 0>,
		<&gpio3 6 0>,
		<&gpio3 11 0>,
		<&gpio3 12 0>,
		<&gpio3 14 0>,
		<&gpio3 22 0>,
		<&gpio3 23 0>,
		<&gpio3 24 0>,
		<&gpio3 25 0>,
		<&gpio3 26 0>,
		<&gpio3 27 0>,
		<&gpio3 28 0>,
		<&gpio4 1 0>,
		<&gpio4 2 0>,
		<&gpio4 5 0>,
		<&gpio4 9 0>,
		<&gpio4 11 0>,
		<&gpio4 19 0>,
		<&gpio4 20 0>,
		<&gpio4 21 0>,
		<&gpio4 22 0>,
		<&gpio4 23 0>,
		<&gpio4 24 0>,
		<&gpio4 25 0>,
		<&gpio4 26 0>,
		<&gpio5 0 0>,
		<&gpio5 1 0>,
		<&gpio5 2 0>,
		<&gpio5 19 0>,
		<&gpio5 20 0>,
		<&gpio5 21 0>,
		<&gpio5 22 0>;
};
